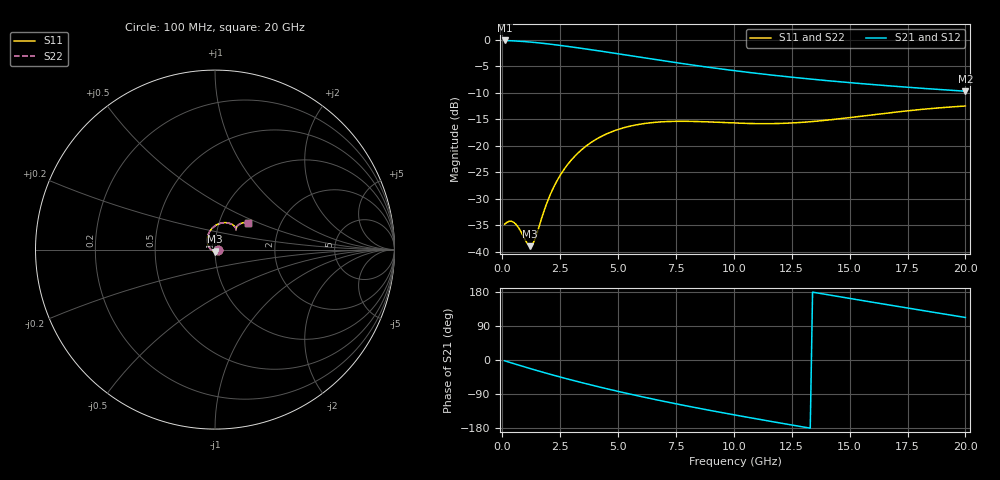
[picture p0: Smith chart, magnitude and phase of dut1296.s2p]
! Touchstone file exported from HFSS 2024.1.0
!  File:  C:/UserFiles/LocalFiles/RDL_TSV_Batchsim/temp_RDL_TSV_1296_1780281081.aedt
!  Generated:  10:47:24 AM Jun  1, 2026
!  Design:  RDL_TSV
!  Project:  temp_RDL_TSV_1296_1780281081
!  Setup:  Setup1
!  Solution:  Sweep
! Variables:
!  dtsv = 6.05um
!  hbump = 3um
!  htsv = 98.43um
!  ldown = 382.88um
!  lrdl = 623.22um
!  p = 40
!  p1 = 41.93um
!  rhole = 10um
!  subl = 3641.52um
!  t = 450um
!  tdown = 3.96um
!  trdl = 2.43um
!  viad = 10um
!  wdown = 29.32um
!  wrdl = 29.46um
!  xbump = 18um
# GHz S MA R 50.000000
! Terminal data exported
! Port[1] = TM1_1_T1
! Port[2] = TM1_4_T1
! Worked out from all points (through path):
!   200 points, 100 MHz to 20 GHz, reference 50 ohm
!   highest |S21| = -0.16 dB at 100 MHz (marker M1); lowest = -9.7 dB at 20 GHz (marker M2)
!   group delay of S21, straight-line fit = 33 ps
!   lowest |S11| = -38.9 dB at 1.2 GHz (marker M3), VSWR 1.02, Z = 49.8 - j1.11 ohm
!   |S11| at or under -10 dB: start of sweep to end of sweep
!   |S22| runs from -38.9 to -12.6 dB; largest |S21 - S12| = 1.1e-14
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0.1  0.01826 -0.4  0.9813 -2.0  0.9813 -2.0  0.01826 -0.4
! Gamma 0 0 0 0
! Port Impedance 50 0 50 0
0.3  0.01945 -7.4  0.9771 -5.9  0.9771 -5.9  0.01946 -7.4
0.5  0.01897 -19.6  0.972 -9.7  0.972 -9.7  0.019 -19.6
0.7  0.01696 -34.7  0.9663 -13.4  0.9663 -13.4  0.017 -34.7
1.1  0.0118 -82.9  0.9524 -20.7  0.9524 -20.7  0.01187 -82.5
1.2  0.01133 -101.2  0.9483 -22.5  0.9483 -22.5  0.01139 -100.6
1.3  0.01168 -120.5  0.944 -24.3  0.944 -24.3  0.01171 -119.8
1.4  0.01294 -138.6  0.9396 -26.1  0.9396 -26.1  0.01293 -137.9
1.9  0.02791 168.8  0.9148 -34.9  0.9148 -34.9  0.02771 169.2
2.3  0.04411 148.6  0.8929 -41.6  0.8929 -41.6  0.04379 148.9
2.8  0.06563 131.2  0.8641 -49.8  0.8641 -49.8  0.06518 131.4
3.5  0.09473 112.6  0.8228 -60.8  0.8228 -60.8  0.0941 112.8
4.2  0.12 97.7  0.7815 -71.3  0.7815 -71.3  0.1192 97.9
4.9  0.14 85.3  0.7411 -81.4  0.7411 -81.4  0.1391 85.5
5.9  0.159 71.0  0.6858 -95.2  0.6858 -95.2  0.158 71.1
6.8  0.1675 61.0  0.6398 -106.9  0.6398 -106.9  0.1665 61.1
8.4  0.1692 49.1  0.5683 -126.4  0.5683 -126.4  0.1682 49.2
10.1  0.1636 43.7  0.5073 -145.7  0.5073 -145.7  0.1627 43.8
11.7  0.1617 43.6  0.4617 -163.1  0.4617 -163.1  0.1609 43.8
13.4  0.1691 45.6  0.4229 179.0  0.4229 179.0  0.1684 45.7
16.7  0.2041 45.4  0.3667 145.2  0.3667 145.2  0.2033 45.4
20  0.2368 38.9  0.3264 112.2  0.3264 112.2  0.2356 38.8
